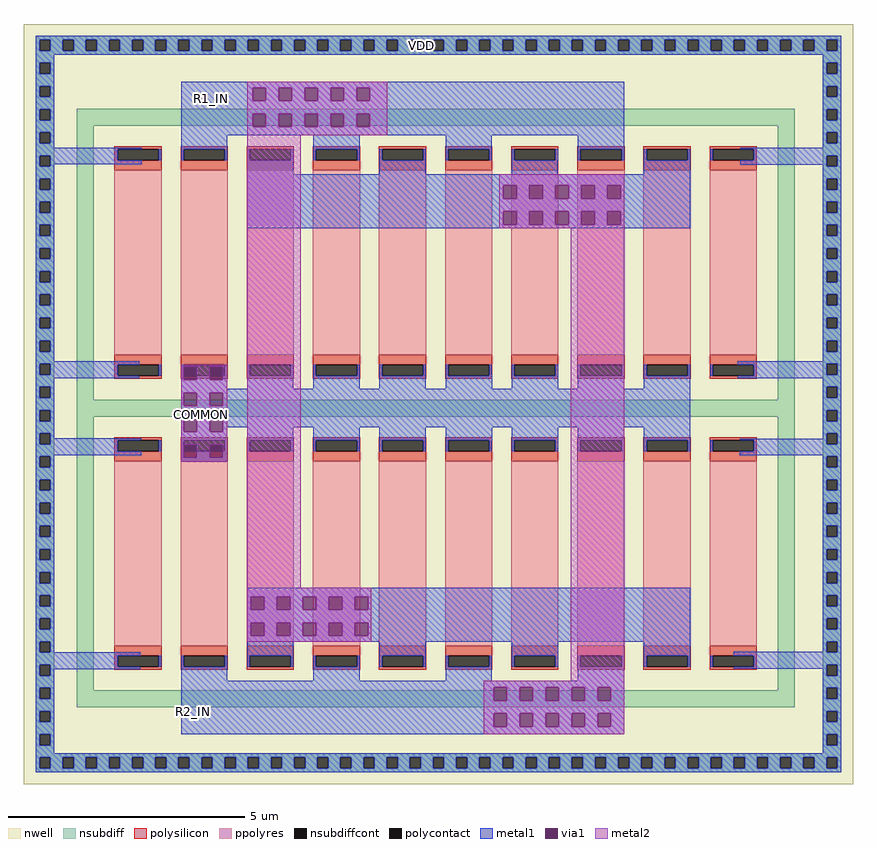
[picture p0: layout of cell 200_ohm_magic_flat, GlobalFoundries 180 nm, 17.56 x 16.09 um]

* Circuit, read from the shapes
.subckt 200_ohm_magic_flat R1_IN R2_IN COMMON VDD
XR1 VDD VDD VSUBS ppolyf_u r_width=1u r_length=3.9u m=4
XR2 COMMON R2_IN VSUBS ppolyf_u r_width=1u r_length=3.9u m=8
XR3 R1_IN COMMON VSUBS ppolyf_u r_width=1u r_length=3.9u m=8
.ends

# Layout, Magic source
magic
tech gf180mcuC
magscale 1 10
<< nwell >>
rect -260 -1592 3252 1626
<< nsubdiff >>
rect -210 1559 3202 1576
rect -210 1513 -193 1559
rect -147 1513 -95 1559
rect -49 1513 3 1559
rect 49 1513 101 1559
rect 147 1513 199 1559
rect 245 1513 297 1559
rect 343 1513 395 1559
rect 441 1513 493 1559
rect 539 1513 591 1559
rect 637 1513 689 1559
rect 735 1513 787 1559
rect 833 1513 885 1559
rect 931 1513 983 1559
rect 1029 1513 1081 1559
rect 1127 1513 1179 1559
rect 1225 1513 1277 1559
rect 1323 1513 1375 1559
rect 1421 1513 1473 1559
rect 1519 1513 1571 1559
rect 1617 1513 1669 1559
rect 1715 1513 1767 1559
rect 1813 1513 1865 1559
rect 1911 1513 1963 1559
rect 2009 1513 2061 1559
rect 2107 1513 2159 1559
rect 2205 1513 2257 1559
rect 2303 1513 2355 1559
rect 2401 1513 2453 1559
rect 2499 1513 2551 1559
rect 2597 1513 2649 1559
rect 2695 1513 2747 1559
rect 2793 1513 2845 1559
rect 2891 1513 2943 1559
rect 2989 1513 3041 1559
rect 3087 1513 3139 1559
rect 3185 1513 3202 1559
rect -210 1496 3202 1513
rect -210 1461 -130 1496
rect -210 1415 -193 1461
rect -147 1415 -130 1461
rect -210 1363 -130 1415
rect -210 1317 -193 1363
rect -147 1317 -130 1363
rect -210 1265 -130 1317
rect 3122 1461 3202 1496
rect 3122 1415 3139 1461
rect 3185 1415 3202 1461
rect 3122 1363 3202 1415
rect 3122 1317 3139 1363
rect 3185 1317 3202 1363
rect -210 1219 -193 1265
rect -147 1219 -130 1265
rect -210 1167 -130 1219
rect -210 1121 -193 1167
rect -147 1121 -130 1167
rect -210 1069 -130 1121
rect -210 1023 -193 1069
rect -147 1023 -130 1069
rect -210 971 -130 1023
rect -210 925 -193 971
rect -147 925 -130 971
rect -210 873 -130 925
rect -210 827 -193 873
rect -147 827 -130 873
rect -210 775 -130 827
rect -210 729 -193 775
rect -147 729 -130 775
rect -210 677 -130 729
rect -210 631 -193 677
rect -147 631 -130 677
rect -210 579 -130 631
rect -210 533 -193 579
rect -147 533 -130 579
rect -210 481 -130 533
rect -210 435 -193 481
rect -147 435 -130 481
rect -210 383 -130 435
rect -210 337 -193 383
rect -147 337 -130 383
rect -210 285 -130 337
rect -210 239 -193 285
rect -147 239 -130 285
rect -210 187 -130 239
rect -210 141 -193 187
rect -147 141 -130 187
rect -210 89 -130 141
rect -210 43 -193 89
rect -147 43 -130 89
rect -210 -9 -130 43
rect -210 -55 -193 -9
rect -147 -55 -130 -9
rect -210 -107 -130 -55
rect -210 -153 -193 -107
rect -147 -153 -130 -107
rect -210 -205 -130 -153
rect -210 -251 -193 -205
rect -147 -251 -130 -205
rect -210 -303 -130 -251
rect -210 -349 -193 -303
rect -147 -349 -130 -303
rect -210 -401 -130 -349
rect -210 -447 -193 -401
rect -147 -447 -130 -401
rect -210 -499 -130 -447
rect -210 -545 -193 -499
rect -147 -545 -130 -499
rect -210 -597 -130 -545
rect -210 -643 -193 -597
rect -147 -643 -130 -597
rect -210 -695 -130 -643
rect -210 -741 -193 -695
rect -147 -741 -130 -695
rect -210 -793 -130 -741
rect -210 -839 -193 -793
rect -147 -839 -130 -793
rect -210 -891 -130 -839
rect -210 -937 -193 -891
rect -147 -937 -130 -891
rect -210 -989 -130 -937
rect -210 -1035 -193 -989
rect -147 -1035 -130 -989
rect -210 -1087 -130 -1035
rect -210 -1133 -193 -1087
rect -147 -1133 -130 -1087
rect -210 -1185 -130 -1133
rect -210 -1231 -193 -1185
rect -147 -1231 -130 -1185
rect -210 -1283 -130 -1231
rect -36 1196 3004 1268
rect -36 36 36 1196
rect 2932 36 3004 1196
rect -36 -36 3004 36
rect -36 -1196 36 -36
rect 2932 -1196 3004 -36
rect -36 -1268 3004 -1196
rect 3122 1265 3202 1317
rect 3122 1219 3139 1265
rect 3185 1219 3202 1265
rect 3122 1167 3202 1219
rect 3122 1121 3139 1167
rect 3185 1121 3202 1167
rect 3122 1069 3202 1121
rect 3122 1023 3139 1069
rect 3185 1023 3202 1069
rect 3122 971 3202 1023
rect 3122 925 3139 971
rect 3185 925 3202 971
rect 3122 873 3202 925
rect 3122 827 3139 873
rect 3185 827 3202 873
rect 3122 775 3202 827
rect 3122 729 3139 775
rect 3185 729 3202 775
rect 3122 677 3202 729
rect 3122 631 3139 677
rect 3185 631 3202 677
rect 3122 579 3202 631
rect 3122 533 3139 579
rect 3185 533 3202 579
rect 3122 481 3202 533
rect 3122 435 3139 481
rect 3185 435 3202 481
rect 3122 383 3202 435
rect 3122 337 3139 383
rect 3185 337 3202 383
rect 3122 285 3202 337
rect 3122 239 3139 285
rect 3185 239 3202 285
rect 3122 187 3202 239
rect 3122 141 3139 187
rect 3185 141 3202 187
rect 3122 89 3202 141
rect 3122 43 3139 89
rect 3185 43 3202 89
rect 3122 -9 3202 43
rect 3122 -55 3139 -9
rect 3185 -55 3202 -9
rect 3122 -107 3202 -55
rect 3122 -153 3139 -107
rect 3185 -153 3202 -107
rect 3122 -205 3202 -153
rect 3122 -251 3139 -205
rect 3185 -251 3202 -205
rect 3122 -303 3202 -251
rect 3122 -349 3139 -303
rect 3185 -349 3202 -303
rect 3122 -401 3202 -349
rect 3122 -447 3139 -401
rect 3185 -447 3202 -401
rect 3122 -499 3202 -447
rect 3122 -545 3139 -499
rect 3185 -545 3202 -499
rect 3122 -597 3202 -545
rect 3122 -643 3139 -597
rect 3185 -643 3202 -597
rect 3122 -695 3202 -643
rect 3122 -741 3139 -695
rect 3185 -741 3202 -695
rect 3122 -793 3202 -741
rect 3122 -839 3139 -793
rect 3185 -839 3202 -793
rect 3122 -891 3202 -839
rect 3122 -937 3139 -891
rect 3185 -937 3202 -891
rect 3122 -989 3202 -937
rect 3122 -1035 3139 -989
rect 3185 -1035 3202 -989
rect 3122 -1087 3202 -1035
rect 3122 -1133 3139 -1087
rect 3185 -1133 3202 -1087
rect 3122 -1185 3202 -1133
rect 3122 -1231 3139 -1185
rect 3185 -1231 3202 -1185
rect -210 -1329 -193 -1283
rect -147 -1329 -130 -1283
rect -210 -1381 -130 -1329
rect -210 -1427 -193 -1381
rect -147 -1427 -130 -1381
rect -210 -1462 -130 -1427
rect 3122 -1283 3202 -1231
rect 3122 -1329 3139 -1283
rect 3185 -1329 3202 -1283
rect 3122 -1381 3202 -1329
rect 3122 -1427 3139 -1381
rect 3185 -1427 3202 -1381
rect 3122 -1462 3202 -1427
rect -210 -1479 3202 -1462
rect -210 -1525 -193 -1479
rect -147 -1525 -95 -1479
rect -49 -1525 3 -1479
rect 49 -1525 101 -1479
rect 147 -1525 199 -1479
rect 245 -1525 297 -1479
rect 343 -1525 395 -1479
rect 441 -1525 493 -1479
rect 539 -1525 591 -1479
rect 637 -1525 689 -1479
rect 735 -1525 787 -1479
rect 833 -1525 885 -1479
rect 931 -1525 983 -1479
rect 1029 -1525 1081 -1479
rect 1127 -1525 1179 -1479
rect 1225 -1525 1277 -1479
rect 1323 -1525 1375 -1479
rect 1421 -1525 1473 -1479
rect 1519 -1525 1571 -1479
rect 1617 -1525 1669 -1479
rect 1715 -1525 1767 -1479
rect 1813 -1525 1865 -1479
rect 1911 -1525 1963 -1479
rect 2009 -1525 2061 -1479
rect 2107 -1525 2159 -1479
rect 2205 -1525 2257 -1479
rect 2303 -1525 2355 -1479
rect 2401 -1525 2453 -1479
rect 2499 -1525 2551 -1479
rect 2597 -1525 2649 -1479
rect 2695 -1525 2747 -1479
rect 2793 -1525 2845 -1479
rect 2891 -1525 2943 -1479
rect 2989 -1525 3041 -1479
rect 3087 -1525 3139 -1479
rect 3185 -1525 3202 -1479
rect -210 -1542 3202 -1525
<< nsubdiffcont >>
rect -193 1513 -147 1559
rect -95 1513 -49 1559
rect 3 1513 49 1559
rect 101 1513 147 1559
rect 199 1513 245 1559
rect 297 1513 343 1559
rect 395 1513 441 1559
rect 493 1513 539 1559
rect 591 1513 637 1559
rect 689 1513 735 1559
rect 787 1513 833 1559
rect 885 1513 931 1559
rect 983 1513 1029 1559
rect 1081 1513 1127 1559
rect 1179 1513 1225 1559
rect 1277 1513 1323 1559
rect 1375 1513 1421 1559
rect 1473 1513 1519 1559
rect 1571 1513 1617 1559
rect 1669 1513 1715 1559
rect 1767 1513 1813 1559
rect 1865 1513 1911 1559
rect 1963 1513 2009 1559
rect 2061 1513 2107 1559
rect 2159 1513 2205 1559
rect 2257 1513 2303 1559
rect 2355 1513 2401 1559
rect 2453 1513 2499 1559
rect 2551 1513 2597 1559
rect 2649 1513 2695 1559
rect 2747 1513 2793 1559
rect 2845 1513 2891 1559
rect 2943 1513 2989 1559
rect 3041 1513 3087 1559
rect 3139 1513 3185 1559
rect -193 1415 -147 1461
rect -193 1317 -147 1363
rect 3139 1415 3185 1461
rect 3139 1317 3185 1363
rect -193 1219 -147 1265
rect -193 1121 -147 1167
rect -193 1023 -147 1069
rect -193 925 -147 971
rect -193 827 -147 873
rect -193 729 -147 775
rect -193 631 -147 677
rect -193 533 -147 579
rect -193 435 -147 481
rect -193 337 -147 383
rect -193 239 -147 285
rect -193 141 -147 187
rect -193 43 -147 89
rect -193 -55 -147 -9
rect -193 -153 -147 -107
rect -193 -251 -147 -205
rect -193 -349 -147 -303
rect -193 -447 -147 -401
rect -193 -545 -147 -499
rect -193 -643 -147 -597
rect -193 -741 -147 -695
rect -193 -839 -147 -793
rect -193 -937 -147 -891
rect -193 -1035 -147 -989
rect -193 -1133 -147 -1087
rect -193 -1231 -147 -1185
rect 3139 1219 3185 1265
rect 3139 1121 3185 1167
rect 3139 1023 3185 1069
rect 3139 925 3185 971
rect 3139 827 3185 873
rect 3139 729 3185 775
rect 3139 631 3185 677
rect 3139 533 3185 579
rect 3139 435 3185 481
rect 3139 337 3185 383
rect 3139 239 3185 285
rect 3139 141 3185 187
rect 3139 43 3185 89
rect 3139 -55 3185 -9
rect 3139 -153 3185 -107
rect 3139 -251 3185 -205
rect 3139 -349 3185 -303
rect 3139 -447 3185 -401
rect 3139 -545 3185 -499
rect 3139 -643 3185 -597
rect 3139 -741 3185 -695
rect 3139 -839 3185 -793
rect 3139 -937 3185 -891
rect 3139 -1035 3185 -989
rect 3139 -1133 3185 -1087
rect 3139 -1231 3185 -1185
rect -193 -1329 -147 -1283
rect -193 -1427 -147 -1381
rect 3139 -1329 3185 -1283
rect 3139 -1427 3185 -1381
rect -193 -1525 -147 -1479
rect -95 -1525 -49 -1479
rect 3 -1525 49 -1479
rect 101 -1525 147 -1479
rect 199 -1525 245 -1479
rect 297 -1525 343 -1479
rect 395 -1525 441 -1479
rect 493 -1525 539 -1479
rect 591 -1525 637 -1479
rect 689 -1525 735 -1479
rect 787 -1525 833 -1479
rect 885 -1525 931 -1479
rect 983 -1525 1029 -1479
rect 1081 -1525 1127 -1479
rect 1179 -1525 1225 -1479
rect 1277 -1525 1323 -1479
rect 1375 -1525 1421 -1479
rect 1473 -1525 1519 -1479
rect 1571 -1525 1617 -1479
rect 1669 -1525 1715 -1479
rect 1767 -1525 1813 -1479
rect 1865 -1525 1911 -1479
rect 1963 -1525 2009 -1479
rect 2061 -1525 2107 -1479
rect 2159 -1525 2205 -1479
rect 2257 -1525 2303 -1479
rect 2355 -1525 2401 -1479
rect 2453 -1525 2499 -1479
rect 2551 -1525 2597 -1479
rect 2649 -1525 2695 -1479
rect 2747 -1525 2793 -1479
rect 2845 -1525 2891 -1479
rect 2943 -1525 2989 -1479
rect 3041 -1525 3087 -1479
rect 3139 -1525 3185 -1479
<< polysilicon >>
rect 124 1095 324 1108
rect 124 1049 137 1095
rect 311 1049 324 1095
rect 124 1006 324 1049
rect 124 183 324 226
rect 124 137 137 183
rect 311 137 324 183
rect 124 124 324 137
rect 404 1095 604 1108
rect 404 1049 417 1095
rect 591 1049 604 1095
rect 404 1006 604 1049
rect 404 183 604 226
rect 404 137 417 183
rect 591 137 604 183
rect 404 124 604 137
rect 684 1095 884 1108
rect 684 1049 697 1095
rect 871 1049 884 1095
rect 684 1006 884 1049
rect 684 183 884 226
rect 684 137 697 183
rect 871 137 884 183
rect 684 124 884 137
rect 964 1095 1164 1108
rect 964 1049 977 1095
rect 1151 1049 1164 1095
rect 964 1006 1164 1049
rect 964 183 1164 226
rect 964 137 977 183
rect 1151 137 1164 183
rect 964 124 1164 137
rect 1244 1095 1444 1108
rect 1244 1049 1257 1095
rect 1431 1049 1444 1095
rect 1244 1006 1444 1049
rect 1244 183 1444 226
rect 1244 137 1257 183
rect 1431 137 1444 183
rect 1244 124 1444 137
rect 1524 1095 1724 1108
rect 1524 1049 1537 1095
rect 1711 1049 1724 1095
rect 1524 1006 1724 1049
rect 1524 183 1724 226
rect 1524 137 1537 183
rect 1711 137 1724 183
rect 1524 124 1724 137
rect 1804 1095 2004 1108
rect 1804 1049 1817 1095
rect 1991 1049 2004 1095
rect 1804 1006 2004 1049
rect 1804 183 2004 226
rect 1804 137 1817 183
rect 1991 137 2004 183
rect 1804 124 2004 137
rect 2084 1095 2284 1108
rect 2084 1049 2097 1095
rect 2271 1049 2284 1095
rect 2084 1006 2284 1049
rect 2084 183 2284 226
rect 2084 137 2097 183
rect 2271 137 2284 183
rect 2084 124 2284 137
rect 2364 1095 2564 1108
rect 2364 1049 2377 1095
rect 2551 1049 2564 1095
rect 2364 1006 2564 1049
rect 2364 183 2564 226
rect 2364 137 2377 183
rect 2551 137 2564 183
rect 2364 124 2564 137
rect 2644 1095 2844 1108
rect 2644 1049 2657 1095
rect 2831 1049 2844 1095
rect 2644 1006 2844 1049
rect 2644 183 2844 226
rect 2644 137 2657 183
rect 2831 137 2844 183
rect 2644 124 2844 137
rect 124 -137 324 -124
rect 124 -183 137 -137
rect 311 -183 324 -137
rect 124 -226 324 -183
rect 124 -1049 324 -1006
rect 124 -1095 137 -1049
rect 311 -1095 324 -1049
rect 124 -1108 324 -1095
rect 404 -137 604 -124
rect 404 -183 417 -137
rect 591 -183 604 -137
rect 404 -226 604 -183
rect 404 -1049 604 -1006
rect 404 -1095 417 -1049
rect 591 -1095 604 -1049
rect 404 -1108 604 -1095
rect 684 -137 884 -124
rect 684 -183 697 -137
rect 871 -183 884 -137
rect 684 -226 884 -183
rect 684 -1049 884 -1006
rect 684 -1095 697 -1049
rect 871 -1095 884 -1049
rect 684 -1108 884 -1095
rect 964 -137 1164 -124
rect 964 -183 977 -137
rect 1151 -183 1164 -137
rect 964 -226 1164 -183
rect 964 -1049 1164 -1006
rect 964 -1095 977 -1049
rect 1151 -1095 1164 -1049
rect 964 -1108 1164 -1095
rect 1244 -137 1444 -124
rect 1244 -183 1257 -137
rect 1431 -183 1444 -137
rect 1244 -226 1444 -183
rect 1244 -1049 1444 -1006
rect 1244 -1095 1257 -1049
rect 1431 -1095 1444 -1049
rect 1244 -1108 1444 -1095
rect 1524 -137 1724 -124
rect 1524 -183 1537 -137
rect 1711 -183 1724 -137
rect 1524 -226 1724 -183
rect 1524 -1049 1724 -1006
rect 1524 -1095 1537 -1049
rect 1711 -1095 1724 -1049
rect 1524 -1108 1724 -1095
rect 1804 -137 2004 -124
rect 1804 -183 1817 -137
rect 1991 -183 2004 -137
rect 1804 -226 2004 -183
rect 1804 -1049 2004 -1006
rect 1804 -1095 1817 -1049
rect 1991 -1095 2004 -1049
rect 1804 -1108 2004 -1095
rect 2084 -137 2284 -124
rect 2084 -183 2097 -137
rect 2271 -183 2284 -137
rect 2084 -226 2284 -183
rect 2084 -1049 2284 -1006
rect 2084 -1095 2097 -1049
rect 2271 -1095 2284 -1049
rect 2084 -1108 2284 -1095
rect 2364 -137 2564 -124
rect 2364 -183 2377 -137
rect 2551 -183 2564 -137
rect 2364 -226 2564 -183
rect 2364 -1049 2564 -1006
rect 2364 -1095 2377 -1049
rect 2551 -1095 2564 -1049
rect 2364 -1108 2564 -1095
rect 2644 -137 2844 -124
rect 2644 -183 2657 -137
rect 2831 -183 2844 -137
rect 2644 -226 2844 -183
rect 2644 -1049 2844 -1006
rect 2644 -1095 2657 -1049
rect 2831 -1095 2844 -1049
rect 2644 -1108 2844 -1095
<< polycontact >>
rect 137 1049 311 1095
rect 137 137 311 183
rect 417 1049 591 1095
rect 417 137 591 183
rect 697 1049 871 1095
rect 697 137 871 183
rect 977 1049 1151 1095
rect 977 137 1151 183
rect 1257 1049 1431 1095
rect 1257 137 1431 183
rect 1537 1049 1711 1095
rect 1537 137 1711 183
rect 1817 1049 1991 1095
rect 1817 137 1991 183
rect 2097 1049 2271 1095
rect 2097 137 2271 183
rect 2377 1049 2551 1095
rect 2377 137 2551 183
rect 2657 1049 2831 1095
rect 2657 137 2831 183
rect 137 -183 311 -137
rect 137 -1095 311 -1049
rect 417 -183 591 -137
rect 417 -1095 591 -1049
rect 697 -183 871 -137
rect 697 -1095 871 -1049
rect 977 -183 1151 -137
rect 977 -1095 1151 -1049
rect 1257 -183 1431 -137
rect 1257 -1095 1431 -1049
rect 1537 -183 1711 -137
rect 1537 -1095 1711 -1049
rect 1817 -183 1991 -137
rect 1817 -1095 1991 -1049
rect 2097 -183 2271 -137
rect 2097 -1095 2271 -1049
rect 2377 -183 2551 -137
rect 2377 -1095 2551 -1049
rect 2657 -183 2831 -137
rect 2657 -1095 2831 -1049
<< ppolyres >>
rect 124 226 324 1006
rect 404 226 604 1006
rect 684 226 884 1006
rect 964 226 1164 1006
rect 1244 226 1444 1006
rect 1524 226 1724 1006
rect 1804 226 2004 1006
rect 2084 226 2284 1006
rect 2364 226 2564 1006
rect 2644 226 2844 1006
rect 124 -1006 324 -226
rect 404 -1006 604 -226
rect 684 -1006 884 -226
rect 964 -1006 1164 -226
rect 1244 -1006 1444 -226
rect 1524 -1006 1724 -226
rect 1804 -1006 2004 -226
rect 2084 -1006 2284 -226
rect 2364 -1006 2564 -226
rect 2644 -1006 2844 -226
<< metal1 >>
rect -210 1559 3202 1576
rect -210 1513 -193 1559
rect -147 1513 -95 1559
rect -49 1513 3 1559
rect 49 1513 101 1559
rect 147 1513 199 1559
rect 245 1513 297 1559
rect 343 1513 395 1559
rect 441 1513 493 1559
rect 539 1513 591 1559
rect 637 1513 689 1559
rect 735 1513 787 1559
rect 833 1513 885 1559
rect 931 1513 983 1559
rect 1029 1513 1081 1559
rect 1127 1513 1179 1559
rect 1225 1513 1277 1559
rect 1323 1513 1375 1559
rect 1421 1513 1473 1559
rect 1519 1513 1571 1559
rect 1617 1513 1669 1559
rect 1715 1513 1767 1559
rect 1813 1513 1865 1559
rect 1911 1513 1963 1559
rect 2009 1513 2061 1559
rect 2107 1513 2159 1559
rect 2205 1513 2257 1559
rect 2303 1513 2355 1559
rect 2401 1513 2453 1559
rect 2499 1513 2551 1559
rect 2597 1513 2649 1559
rect 2695 1513 2747 1559
rect 2793 1513 2845 1559
rect 2891 1513 2943 1559
rect 2989 1513 3041 1559
rect 3087 1513 3139 1559
rect 3185 1513 3202 1559
rect -210 1496 3202 1513
rect -210 1461 -130 1496
rect -210 1415 -193 1461
rect -147 1415 -130 1461
rect -210 1363 -130 1415
rect 3122 1461 3202 1496
rect 3122 1415 3139 1461
rect 3185 1415 3202 1461
rect -210 1317 -193 1363
rect -147 1317 -130 1363
rect -210 1265 -130 1317
rect -210 1219 -193 1265
rect -147 1219 -130 1265
rect -210 1167 -130 1219
rect -210 1121 -193 1167
rect -147 1121 -130 1167
rect -210 1103 -130 1121
rect 406 1357 2282 1382
rect 406 1301 709 1357
rect 765 1301 819 1357
rect 875 1301 929 1357
rect 985 1301 1039 1357
rect 1095 1301 1149 1357
rect 1205 1301 2282 1357
rect 406 1247 2282 1301
rect 406 1191 709 1247
rect 765 1191 819 1247
rect 875 1191 929 1247
rect 985 1191 1039 1247
rect 1095 1191 1149 1247
rect 1205 1191 2282 1247
rect 406 1155 2282 1191
rect -210 1095 240 1103
rect 406 1095 602 1155
rect 966 1095 1162 1155
rect 1526 1095 1722 1155
rect 2086 1095 2282 1155
rect 3122 1363 3202 1415
rect 3122 1317 3139 1363
rect 3185 1317 3202 1363
rect 3122 1265 3202 1317
rect 3122 1219 3139 1265
rect 3185 1219 3202 1265
rect 3122 1167 3202 1219
rect 3122 1121 3139 1167
rect 3185 1121 3202 1167
rect 3122 1101 3202 1121
rect -210 1069 137 1095
rect -210 1023 -193 1069
rect -147 1049 137 1069
rect 311 1049 322 1095
rect 406 1049 417 1095
rect 591 1049 602 1095
rect 686 1049 697 1095
rect 871 1049 882 1095
rect 966 1049 977 1095
rect 1151 1049 1162 1095
rect 1246 1049 1257 1095
rect 1431 1049 1442 1095
rect 1526 1049 1537 1095
rect 1711 1049 1722 1095
rect 1806 1049 1817 1095
rect 1991 1049 2002 1095
rect 2086 1049 2097 1095
rect 2271 1049 2282 1095
rect 2366 1095 2561 1096
rect 2773 1095 3202 1101
rect 2366 1049 2377 1095
rect 2551 1049 2562 1095
rect 2646 1049 2657 1095
rect 2831 1069 3202 1095
rect 2831 1049 3139 1069
rect -147 1032 240 1049
rect -147 1023 -130 1032
rect -210 971 -130 1023
rect -210 925 -193 971
rect -147 925 -130 971
rect -210 873 -130 925
rect -210 827 -193 873
rect -147 827 -130 873
rect -210 775 -130 827
rect -210 729 -193 775
rect -147 729 -130 775
rect 686 989 882 1049
rect 1246 989 1441 1049
rect 1806 989 2001 1049
rect 2366 989 2561 1049
rect 2773 1030 3139 1049
rect 686 943 2561 989
rect 686 887 1771 943
rect 1827 887 1881 943
rect 1937 887 1991 943
rect 2047 887 2101 943
rect 2157 887 2211 943
rect 2267 887 2561 943
rect 686 833 2561 887
rect 686 777 1771 833
rect 1827 777 1881 833
rect 1937 777 1991 833
rect 2047 777 2101 833
rect 2157 777 2211 833
rect 2267 777 2561 833
rect 686 762 2561 777
rect 3122 1023 3139 1030
rect 3185 1023 3202 1069
rect 3122 971 3202 1023
rect 3122 925 3139 971
rect 3185 925 3202 971
rect 3122 873 3202 925
rect 3122 827 3139 873
rect 3185 827 3202 873
rect 3122 775 3202 827
rect -210 677 -130 729
rect -210 631 -193 677
rect -147 631 -130 677
rect -210 579 -130 631
rect -210 533 -193 579
rect -147 533 -130 579
rect -210 481 -130 533
rect -210 435 -193 481
rect -147 435 -130 481
rect -210 383 -130 435
rect -210 337 -193 383
rect -147 337 -130 383
rect -210 285 -130 337
rect -210 239 -193 285
rect -147 239 -130 285
rect -210 197 -130 239
rect 3122 729 3139 775
rect 3185 729 3202 775
rect 3122 677 3202 729
rect 3122 631 3139 677
rect 3185 631 3202 677
rect 3122 579 3202 631
rect 3122 533 3139 579
rect 3185 533 3202 579
rect 3122 481 3202 533
rect 3122 435 3139 481
rect 3185 435 3202 481
rect 3122 383 3202 435
rect 3122 337 3139 383
rect 3185 337 3202 383
rect 3122 285 3202 337
rect 3122 239 3139 285
rect 3185 239 3202 285
rect 3122 198 3202 239
rect -210 187 229 197
rect -210 141 -193 187
rect -147 183 229 187
rect 2764 187 3202 198
rect 2764 183 3139 187
rect -147 141 137 183
rect -210 137 137 141
rect 311 137 322 183
rect -210 126 229 137
rect -210 89 -130 126
rect -210 43 -193 89
rect -147 43 -130 89
rect -210 -9 -130 43
rect -210 -55 -193 -9
rect -147 -55 -130 -9
rect -210 -107 -130 -55
rect -210 -153 -193 -107
rect -147 -129 -130 -107
rect 406 119 417 183
rect 591 137 602 183
rect 473 119 527 137
rect 583 119 602 137
rect 406 82 602 119
rect 686 137 697 183
rect 871 137 882 183
rect 686 82 882 137
rect 966 137 977 183
rect 1151 137 1162 183
rect 966 82 1162 137
rect 1246 137 1257 183
rect 1431 137 1442 183
rect 1246 82 1442 137
rect 1526 137 1537 183
rect 1711 138 1722 183
rect 1711 137 1723 138
rect 1526 82 1723 137
rect 1806 137 1817 183
rect 1991 137 2002 183
rect 1806 82 2002 137
rect 2086 137 2097 183
rect 2271 137 2282 183
rect 2086 82 2282 137
rect 2366 137 2377 183
rect 2551 137 2562 183
rect 2646 137 2657 183
rect 2831 141 3139 183
rect 3185 141 3202 187
rect 2831 137 3202 141
rect 2366 82 2562 137
rect 2764 127 3202 137
rect 406 65 2562 82
rect 406 9 417 65
rect 473 9 527 65
rect 583 9 2562 65
rect 406 -45 2562 9
rect 406 -101 417 -45
rect 473 -101 527 -45
rect 583 -82 2562 -45
rect 583 -101 602 -82
rect -147 -137 238 -129
rect 406 -137 602 -101
rect -147 -153 137 -137
rect -210 -183 137 -153
rect 311 -183 322 -137
rect -210 -200 238 -183
rect -210 -205 -130 -200
rect -210 -251 -193 -205
rect -147 -251 -130 -205
rect 406 -211 417 -137
rect 591 -183 602 -137
rect 686 -137 882 -82
rect 686 -183 697 -137
rect 871 -183 882 -137
rect 966 -137 1162 -82
rect 966 -183 977 -137
rect 1151 -183 1162 -137
rect 1246 -137 1442 -82
rect 1246 -183 1257 -137
rect 1431 -183 1442 -137
rect 1526 -137 1723 -82
rect 1806 -137 2002 -82
rect 1526 -183 1537 -137
rect 1711 -183 1722 -137
rect 1806 -183 1817 -137
rect 1991 -183 2002 -137
rect 2086 -137 2282 -82
rect 2086 -183 2097 -137
rect 2271 -183 2282 -137
rect 2366 -137 2562 -82
rect 3122 89 3202 127
rect 3122 43 3139 89
rect 3185 43 3202 89
rect 3122 -9 3202 43
rect 3122 -55 3139 -9
rect 3185 -55 3202 -9
rect 3122 -107 3202 -55
rect 3122 -130 3139 -107
rect 2771 -137 3139 -130
rect 2366 -183 2377 -137
rect 2551 -183 2562 -137
rect 2646 -183 2657 -137
rect 2831 -153 3139 -137
rect 3185 -153 3202 -107
rect 2831 -183 3202 -153
rect 473 -211 527 -183
rect 583 -211 602 -183
rect 2771 -201 3202 -183
rect 406 -228 602 -211
rect 3122 -205 3202 -201
rect -210 -303 -130 -251
rect -210 -349 -193 -303
rect -147 -349 -130 -303
rect -210 -401 -130 -349
rect -210 -447 -193 -401
rect -147 -447 -130 -401
rect -210 -499 -130 -447
rect -210 -545 -193 -499
rect -147 -545 -130 -499
rect -210 -597 -130 -545
rect -210 -643 -193 -597
rect -147 -643 -130 -597
rect -210 -695 -130 -643
rect -210 -741 -193 -695
rect -147 -741 -130 -695
rect -210 -793 -130 -741
rect 3122 -251 3139 -205
rect 3185 -251 3202 -205
rect 3122 -303 3202 -251
rect 3122 -349 3139 -303
rect 3185 -349 3202 -303
rect 3122 -401 3202 -349
rect 3122 -447 3139 -401
rect 3185 -447 3202 -401
rect 3122 -499 3202 -447
rect 3122 -545 3139 -499
rect 3185 -545 3202 -499
rect 3122 -597 3202 -545
rect 3122 -643 3139 -597
rect 3185 -643 3202 -597
rect 3122 -695 3202 -643
rect 3122 -741 3139 -695
rect 3185 -741 3202 -695
rect -210 -839 -193 -793
rect -147 -839 -130 -793
rect -210 -891 -130 -839
rect -210 -937 -193 -891
rect -147 -937 -130 -891
rect -210 -989 -130 -937
rect -210 -1035 -193 -989
rect -147 -1035 -130 -989
rect 686 -799 2562 -762
rect 686 -855 702 -799
rect 758 -855 812 -799
rect 868 -855 922 -799
rect 978 -855 1032 -799
rect 1088 -855 1142 -799
rect 1198 -855 2562 -799
rect 686 -909 2562 -855
rect 686 -965 702 -909
rect 758 -965 812 -909
rect 868 -965 922 -909
rect 978 -965 1032 -909
rect 1088 -965 1142 -909
rect 1198 -965 2562 -909
rect 686 -989 2562 -965
rect -210 -1049 234 -1035
rect 686 -1049 882 -989
rect 1246 -1049 1442 -989
rect 1806 -1049 2002 -989
rect 2366 -1049 2562 -989
rect 3122 -793 3202 -741
rect 3122 -839 3139 -793
rect 3185 -839 3202 -793
rect 3122 -891 3202 -839
rect 3122 -937 3139 -891
rect 3185 -937 3202 -891
rect 3122 -989 3202 -937
rect 3122 -1032 3139 -989
rect 2747 -1035 3139 -1032
rect 3185 -1035 3202 -989
rect 2747 -1049 3202 -1035
rect -210 -1087 137 -1049
rect -210 -1133 -193 -1087
rect -147 -1095 137 -1087
rect 311 -1095 322 -1049
rect 406 -1095 417 -1049
rect 591 -1095 602 -1049
rect 686 -1095 697 -1049
rect 871 -1095 882 -1049
rect 966 -1095 977 -1049
rect 1151 -1095 1162 -1049
rect 1246 -1095 1257 -1049
rect 1431 -1095 1442 -1049
rect 1526 -1095 1537 -1049
rect 1711 -1095 1722 -1049
rect 1806 -1095 1817 -1049
rect 1991 -1095 2002 -1049
rect 2086 -1095 2097 -1049
rect 2271 -1095 2282 -1049
rect 2366 -1095 2377 -1049
rect 2551 -1095 2562 -1049
rect 2646 -1095 2657 -1049
rect 2831 -1087 3202 -1049
rect 2831 -1095 3139 -1087
rect -147 -1106 234 -1095
rect -147 -1133 -130 -1106
rect -210 -1185 -130 -1133
rect -210 -1231 -193 -1185
rect -147 -1231 -130 -1185
rect -210 -1283 -130 -1231
rect -210 -1329 -193 -1283
rect -147 -1329 -130 -1283
rect -210 -1381 -130 -1329
rect -210 -1427 -193 -1381
rect -147 -1427 -130 -1381
rect 406 -1155 602 -1095
rect 966 -1155 1162 -1095
rect 1526 -1155 1722 -1095
rect 2086 -1155 2282 -1095
rect 2747 -1103 3139 -1095
rect 406 -1183 2282 -1155
rect 406 -1239 1730 -1183
rect 1786 -1239 1840 -1183
rect 1896 -1239 1950 -1183
rect 2006 -1239 2060 -1183
rect 2116 -1239 2170 -1183
rect 2226 -1239 2282 -1183
rect 406 -1293 2282 -1239
rect 406 -1349 1730 -1293
rect 1786 -1349 1840 -1293
rect 1896 -1349 1950 -1293
rect 2006 -1349 2060 -1293
rect 2116 -1349 2170 -1293
rect 2226 -1349 2282 -1293
rect 406 -1382 2282 -1349
rect 3122 -1133 3139 -1103
rect 3185 -1133 3202 -1087
rect 3122 -1185 3202 -1133
rect 3122 -1231 3139 -1185
rect 3185 -1231 3202 -1185
rect 3122 -1283 3202 -1231
rect 3122 -1329 3139 -1283
rect 3185 -1329 3202 -1283
rect 3122 -1381 3202 -1329
rect -210 -1462 -130 -1427
rect 3122 -1427 3139 -1381
rect 3185 -1427 3202 -1381
rect 3122 -1462 3202 -1427
rect -210 -1479 3202 -1462
rect -210 -1525 -193 -1479
rect -147 -1525 -95 -1479
rect -49 -1525 3 -1479
rect 49 -1525 101 -1479
rect 147 -1525 199 -1479
rect 245 -1525 297 -1479
rect 343 -1525 395 -1479
rect 441 -1525 493 -1479
rect 539 -1525 591 -1479
rect 637 -1525 689 -1479
rect 735 -1525 787 -1479
rect 833 -1525 885 -1479
rect 931 -1525 983 -1479
rect 1029 -1525 1081 -1479
rect 1127 -1525 1179 -1479
rect 1225 -1525 1277 -1479
rect 1323 -1525 1375 -1479
rect 1421 -1525 1473 -1479
rect 1519 -1525 1571 -1479
rect 1617 -1525 1669 -1479
rect 1715 -1525 1767 -1479
rect 1813 -1525 1865 -1479
rect 1911 -1525 1963 -1479
rect 2009 -1525 2061 -1479
rect 2107 -1525 2159 -1479
rect 2205 -1525 2257 -1479
rect 2303 -1525 2355 -1479
rect 2401 -1525 2453 -1479
rect 2499 -1525 2551 -1479
rect 2597 -1525 2649 -1479
rect 2695 -1525 2747 -1479
rect 2793 -1525 2845 -1479
rect 2891 -1525 2943 -1479
rect 2989 -1525 3041 -1479
rect 3087 -1525 3139 -1479
rect 3185 -1525 3202 -1479
rect -210 -1542 3202 -1525
<< via1 >>
rect 709 1301 765 1357
rect 819 1301 875 1357
rect 929 1301 985 1357
rect 1039 1301 1095 1357
rect 1149 1301 1205 1357
rect 709 1191 765 1247
rect 819 1191 875 1247
rect 929 1191 985 1247
rect 1039 1191 1095 1247
rect 1149 1191 1205 1247
rect 1771 887 1827 943
rect 1881 887 1937 943
rect 1991 887 2047 943
rect 2101 887 2157 943
rect 2211 887 2267 943
rect 1771 777 1827 833
rect 1881 777 1937 833
rect 1991 777 2047 833
rect 2101 777 2157 833
rect 2211 777 2267 833
rect 417 137 473 175
rect 527 137 583 175
rect 417 119 473 137
rect 527 119 583 137
rect 417 9 473 65
rect 527 9 583 65
rect 417 -101 473 -45
rect 527 -101 583 -45
rect 417 -183 473 -155
rect 527 -183 583 -155
rect 417 -211 473 -183
rect 527 -211 583 -183
rect 702 -855 758 -799
rect 812 -855 868 -799
rect 922 -855 978 -799
rect 1032 -855 1088 -799
rect 1142 -855 1198 -799
rect 702 -965 758 -909
rect 812 -965 868 -909
rect 922 -965 978 -909
rect 1032 -965 1088 -909
rect 1142 -965 1198 -909
rect 1730 -1239 1786 -1183
rect 1840 -1239 1896 -1183
rect 1950 -1239 2006 -1183
rect 2060 -1239 2116 -1183
rect 2170 -1239 2226 -1183
rect 1730 -1349 1786 -1293
rect 1840 -1349 1896 -1293
rect 1950 -1349 2006 -1293
rect 2060 -1349 2116 -1293
rect 2170 -1349 2226 -1293
<< metal2 >>
rect 686 1357 1280 1382
rect 686 1301 709 1357
rect 765 1301 819 1357
rect 875 1301 929 1357
rect 985 1301 1039 1357
rect 1095 1301 1149 1357
rect 1205 1301 1280 1357
rect 686 1247 1280 1301
rect 686 1191 709 1247
rect 765 1191 819 1247
rect 875 1191 929 1247
rect 985 1191 1039 1247
rect 1095 1191 1149 1247
rect 1205 1191 1280 1247
rect 686 1155 1280 1191
rect 406 175 602 183
rect 406 119 417 175
rect 473 119 527 175
rect 583 119 602 175
rect 406 65 602 119
rect 406 9 417 65
rect 473 9 527 65
rect 583 9 602 65
rect 406 -45 602 9
rect 406 -101 417 -45
rect 473 -101 527 -45
rect 583 -101 602 -45
rect 406 -155 602 -101
rect 406 -211 417 -155
rect 473 -211 527 -155
rect 583 -211 602 -155
rect 406 -228 602 -211
rect 686 -762 913 1155
rect 1754 943 2282 989
rect 1754 887 1771 943
rect 1827 887 1881 943
rect 1937 887 1991 943
rect 2047 887 2101 943
rect 2157 887 2211 943
rect 2267 887 2282 943
rect 1754 833 2282 887
rect 1754 777 1771 833
rect 1827 777 1881 833
rect 1937 777 1991 833
rect 2047 777 2101 833
rect 2157 777 2211 833
rect 2267 777 2282 833
rect 1754 762 2282 777
rect 686 -799 1211 -762
rect 686 -855 702 -799
rect 758 -855 812 -799
rect 868 -855 922 -799
rect 978 -855 1032 -799
rect 1088 -855 1142 -799
rect 1198 -855 1211 -799
rect 686 -909 1211 -855
rect 686 -965 702 -909
rect 758 -965 812 -909
rect 868 -965 922 -909
rect 978 -965 1032 -909
rect 1088 -965 1142 -909
rect 1198 -965 1211 -909
rect 686 -989 1211 -965
rect 2055 -1155 2282 762
rect 1688 -1183 2282 -1155
rect 1688 -1239 1730 -1183
rect 1786 -1239 1840 -1183
rect 1896 -1239 1950 -1183
rect 2006 -1239 2060 -1183
rect 2116 -1239 2170 -1183
rect 2226 -1239 2282 -1183
rect 1688 -1293 2282 -1239
rect 1688 -1349 1730 -1293
rect 1786 -1349 1840 -1293
rect 1896 -1349 1950 -1293
rect 2006 -1349 2060 -1293
rect 2116 -1349 2170 -1293
rect 2226 -1349 2282 -1293
rect 1688 -1382 2282 -1349
<< labels >>
flabel metal1 533 1310 533 1310 0 FreeSans 800 0 0 0 R1_IN
port 0 nsew
flabel metal1 459 -1284 459 -1284 0 FreeSans 800 0 0 0 R2_IN
port 1 nsew
flabel metal2 491 -27 491 -27 0 FreeSans 800 0 0 0 COMMON
port 2 nsew
flabel metal1 1424 1537 1424 1537 0 FreeSans 800 0 0 0 VDD
port 3 nsew
<< end >>
